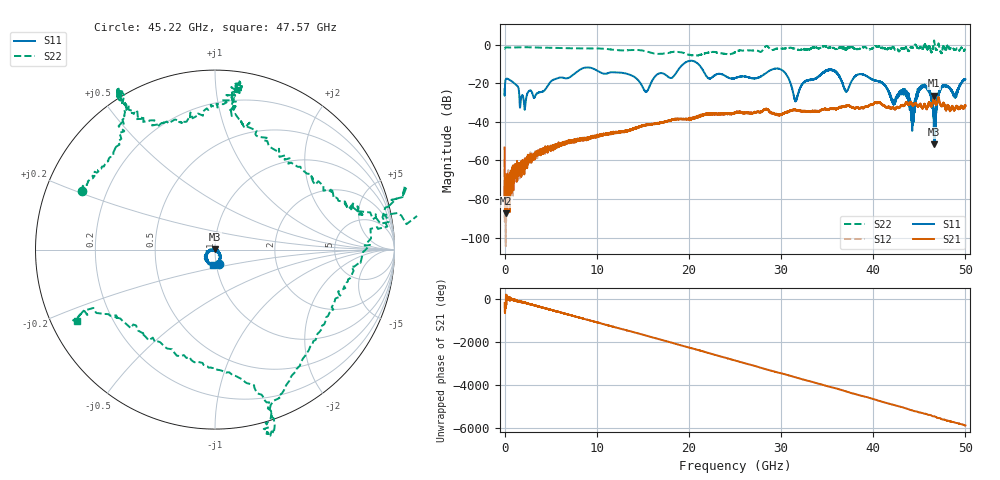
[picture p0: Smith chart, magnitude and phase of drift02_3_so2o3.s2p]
!Created with skrf (http://scikit-rf.org).
# Hz S RI R 50.0
!freq ReS11 ImS11 ReS21 ImS21 ReS12 ImS12 ReS22 ImS22
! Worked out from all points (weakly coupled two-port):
!   10001 points, 300 kHz to 50 GHz, reference 50 ohm
!   highest |S21| = -26.51 dB at 46.59 GHz (marker M1); lowest = -87.5 dB at 180.3 MHz (marker M2)
!   lowest |S11| = -51.7 dB at 46.63 GHz (marker M3), VSWR 1.01, Z = 49.7 + j0.0619 ohm
!   |S11| at or under -10 dB: start of sweep to 19.41 GHz; 21 GHz to end of sweep
!   |S22| runs from -5.7 to 2.2 dB; largest |S21 - S12| = 0.003
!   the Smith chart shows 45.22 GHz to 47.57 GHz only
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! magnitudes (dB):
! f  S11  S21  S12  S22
! 300 kHz  -23.1  -53.3  -59.4  -2.1
! 180.3 MHz  -17.7  -87.5  -72.2  -1.4
! 2.19 GHz  -33.6  -63.4  -62.8  -1.3
! 8.335 GHz  -12.5  -48.9  -49.1  -1.9
! 15.34 GHz  -24.4  -41.8  -41.5  -3.4
! 16.67 GHz  -15.1  -40.8  -40.7  -4.8
! 20.28 GHz  -8.3  -38.7  -38.5  -5.5
! 25 GHz  -17.4  -35.0  -35.4  -3.9
! 29.86 GHz  -12.6  -36.4  -36.4  -2.0
! 31.6 GHz  -29.1  -33.9  -34.0  -2.5
! 33.34 GHz  -18.1  -34.5  -34.5  -1.5
! 35.59 GHz  -13.4  -33.4  -33.2  -1.7
! 37.1 GHz  -24.3  -31.7  -31.7  -2.3
! 38.75 GHz  -15.3  -32.7  -32.7  -1.1
! 41.67 GHz  -24.3  -32.3  -32.3  -1.8
! 43.43 GHz  -23.0  -31.1  -31.2  -1.9
! 44.27 GHz  -36.9  -31.1  -31.2  -1.6
! 45.7 GHz  -22.0  -32.7  -32.4  -0.8
! 46.59 GHz  -35.7  -26.5  -27.0  1.8
! 46.63 GHz  -51.7  -27.4  -27.4  1.6
! 47.48 GHz  -21.8  -31.6  -31.9  -3.2
! 50 GHz  -17.9  -31.7  -32.0  -2.7
